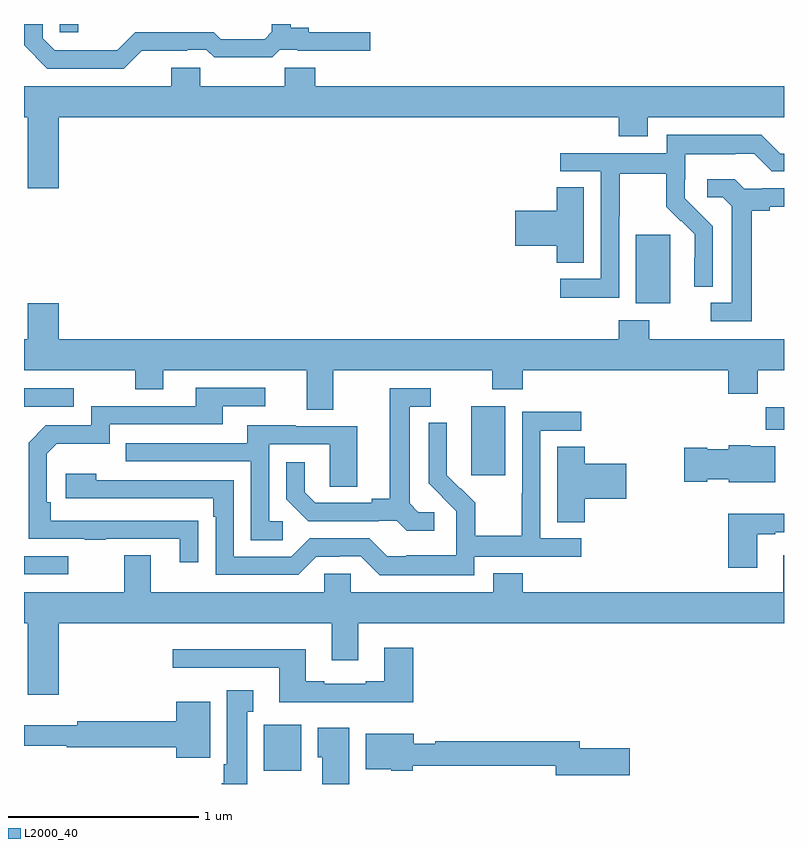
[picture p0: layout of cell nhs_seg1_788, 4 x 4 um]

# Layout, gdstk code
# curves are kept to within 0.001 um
import gdstk
lib = gdstk.Library(unit=1e-6, precision=1e-09)
def R(c, l, rs):  # rectangles x0, y0, x1, y1
    for r in rs: c.add(gdstk.rectangle(r[:2], r[2:], *l))
def P(c, l, *ps):  # polygons
    for p in ps: c.add(gdstk.Polygon(p, *l))
L2000_40 = (2000, 40)

nhs_seg1_788 = lib.new_cell('nhs_seg1_788')
R(nhs_seg1_788, L2000_40, [(154.262,572.27,154.459,572.512), (153,573.303,153.232,573.399), (155.354,573.825,155.533,574.186), (156.904,574.064,157,574.183), (153,574.185,153.262,574.281), (156.221,574.73,156.4,575.091), (153.189,576.156,153.285,576.199)])
P(nhs_seg1_788, L2000_40, [(153.62,576.059),(153.86,576.059),(153.86,576.063),(153.96,576.063),(154,576.024),(154.307,576.024),(154.347,576.063),(154.441,576.063),(154.441,576.059),(154.822,576.059),(154.822,576.156),(154.498,576.156),(154.498,576.179),(154.403,576.179),(154.403,576.199),(154.305,576.199),(154.305,576.159),(154.266,576.12),(154.035,576.12),(153.999,576.156),(153.585,576.156),(153.491,576.062),(153.386,576.062),(153.386,576.06),(153.162,576.06),(153.099,576.123),(153.099,576.199),(153,576.199),(153,576.087),(153.122,575.964),(153.525,575.964)],
  [(153.184,575.708),(156.131,575.708),(156.131,575.609),(156.283,575.609),(156.283,575.708),(157,575.708),(157,575.872),(154.532,575.872),(154.532,575.97),(154.372,575.97),(154.372,575.872),(153.927,575.872),(153.927,575.97),(153.776,575.97),(153.776,575.872),(153,575.872),(153,575.708),(153.02,575.708),(153.02,575.334),(153.184,575.334)],
  [(156.132,575.188),(156.135,575.188),(156.135,575.412),(156.379,575.412),(156.379,575.237),(156.456,575.16),(156.459,575.163),(156.53,575.093),(156.53,574.97),(156.528,574.97),(156.528,574.816),(156.624,574.816),(156.624,575.134),(156.478,575.282),(156.478,575.379),(156.48,575.379),(156.48,575.513),(156.743,575.513),(156.743,575.517),(156.843,575.517),(156.936,575.424),(157,575.424),(157,575.517),(156.981,575.517),(156.881,575.617),(156.384,575.617),(156.384,575.52),(155.823,575.52),(155.823,575.424),(156.036,575.424),(156.036,574.857),(155.823,574.857),(155.823,574.759),(156.132,574.759)],
  [(156.829,575.216),(156.925,575.216),(156.925,575.238),(157,575.238),(157,575.334),(156.886,575.334),(156.886,575.331),(156.792,575.331),(156.74,575.383),(156.597,575.383),(156.597,575.286),(156.678,575.286),(156.725,575.239),(156.725,574.731),(156.615,574.731),(156.615,574.635),(156.829,574.635)],
  [(155.947,575.339),(155.804,575.339),(155.804,575.216),(155.586,575.216),(155.586,575.033),(155.804,575.033),(155.804,574.942),(155.947,574.942)],
  [(154.627,574.376),(155.464,574.376),(155.464,574.277),(155.624,574.277),(155.624,574.376),(156.707,574.376),(156.707,574.252),(156.863,574.252),(156.863,574.376),(157,574.376),(157,574.54),(156.291,574.54),(156.291,574.639),(156.131,574.639),(156.131,574.54),(153.184,574.54),(153.184,574.729),(153.02,574.729),(153.02,574.54),(153,574.54),(153,574.376),(153.586,574.376),(153.586,574.277),(153.733,574.277),(153.733,574.376),(154.487,574.376),(154.487,574.168),(154.627,574.168)],
  [(153.917,573.584),(153.14,573.585),(153.14,573.682),(153.12,573.682),(153.12,573.936),(153.173,573.989),(153.45,573.989),(153.45,574.092),(154.045,574.092),(154.045,574.188),(154.27,574.188),(154.27,574.284),(153.905,574.284),(153.905,574.188),(153.354,574.188),(153.354,574.086),(153.114,574.086),(153.024,573.996),(153.024,573.489),(153.319,573.489),(153.319,573.484),(153.431,573.484),(153.431,573.489),(153.821,573.489),(153.821,573.366),(153.917,573.366)],
  [(155.158,573.63),(155.076,573.63),(155.029,573.677),(155.029,574.185),(155.14,574.185),(155.14,574.281),(154.925,574.281),(154.925,573.701),(154.829,573.701),(154.829,573.678),(154.534,573.678),(154.477,573.735),(154.477,573.892),(154.38,573.892),(154.38,573.698),(154.496,573.582),(154.868,573.582),(154.868,573.585),(154.962,573.585),(155.014,573.533),(155.158,573.533)],
  [(155.37,573.396),(155.932,573.396),(155.932,573.492),(155.718,573.492),(155.718,574.059),(155.932,574.059),(155.932,574.158),(155.622,574.158),(155.622,573.728),(155.62,573.728),(155.62,573.505),(155.375,573.505),(155.375,573.679),(155.298,573.756),(155.295,573.753),(155.225,573.824),(155.226,574.1),(155.13,574.1),(155.13,573.782),(155.276,573.634),(155.276,573.537),(155.274,573.537),(155.274,573.403),(155.011,573.403),(155.011,573.399),(154.911,573.399),(154.818,573.492),(154.503,573.492),(154.407,573.396),(154.104,573.396),(154.104,573.798),(153.38,573.798),(153.38,573.832),(153.219,573.832),(153.219,573.702),(153.995,573.702),(153.995,573.605),(154.008,573.605),(154.008,573.3),(154.443,573.3),(154.539,573.396),(154.658,573.396),(154.658,573.399),(154.773,573.399),(154.873,573.299),(155.37,573.299)],
  [(154.363,573.582),(154.29,573.582),(154.29,573.987),(154.608,573.987),(154.608,573.763),(154.753,573.763),(154.753,574.083),(154.429,574.083),(154.429,574.087),(154.175,574.087),(154.175,573.993),(153.535,573.993),(153.535,573.897),(154.194,573.897),(154.194,573.481),(154.363,573.481)],
  [(156.955,573.976),(156.822,573.976),(156.822,573.982),(156.708,573.982),(156.708,573.961),(156.597,573.961),(156.597,573.969),(156.474,573.969),(156.474,573.791),(156.597,573.791),(156.597,573.803),(156.708,573.803),(156.708,573.788),(156.955,573.788)],
  [(155.951,573.701),(156.169,573.701),(156.169,573.884),(155.951,573.884),(155.951,573.974),(155.807,573.974),(155.807,573.577),(155.951,573.577)],
  [(156.859,573.513),(156.955,573.513),(156.955,573.525),(157,573.525),(157,573.622),(156.707,573.622),(156.707,573.336),(156.859,573.336)],
  [(153.184,573.044),(154.619,573.044),(154.619,572.85),(154.759,572.85),(154.759,573.044),(157,573.044),(157,573.403),(156.995,573.403),(156.995,573.208),(155.624,573.208),(155.624,573.307),(155.471,573.307),(155.471,573.208),(154.719,573.208),(154.719,573.306),(154.581,573.306),(154.581,573.208),(153.667,573.208),(153.667,573.403),(153.527,573.403),(153.527,573.208),(153,573.208),(153,573.044),(153.02,573.044),(153.02,572.67),(153.184,572.67)],
  [(155.048,572.917),(154.895,572.917),(154.895,572.74),(154.799,572.74),(154.799,572.727),(154.579,572.727),(154.579,572.74),(154.483,572.74),(154.483,572.908),(153.783,572.908),(153.783,572.811),(154.343,572.811),(154.343,572.63),(155.048,572.63)],
  [(154.174,572.579),(154.207,572.579),(154.207,572.692),(154.067,572.692),(154.067,572.302),(154.052,572.302),(154.052,572.202),(154.04,572.202),(154.04,572.199),(154.174,572.199)],
  [(153.979,572.632),(153.8,572.632),(153.8,572.528),(153.28,572.528),(153.28,572.509),(153,572.509),(153,572.4),(153.226,572.4),(153.226,572.392),(153.8,572.392),(153.8,572.336),(153.979,572.336)],
  [(154.711,572.494),(154.547,572.494),(154.547,572.34),(154.571,572.34),(154.571,572.199),(154.711,572.199)],
  [(156.187,572.387),(155.926,572.387),(155.926,572.423),(155.164,572.423),(155.164,572.412),(155.05,572.412),(155.05,572.464),(154.799,572.464),(154.799,572.276),(154.932,572.276),(154.932,572.27),(155.046,572.27),(155.046,572.295),(155.798,572.295),(155.798,572.245),(156.187,572.245)])

lib.write_gds('nhs_seg1_788.gds')
